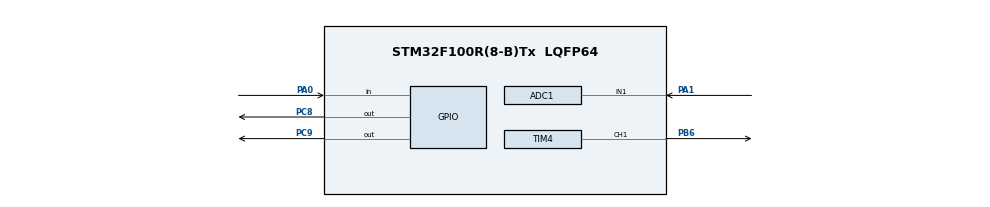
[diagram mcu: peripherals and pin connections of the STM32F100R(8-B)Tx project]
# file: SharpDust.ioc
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ADC1.Channel-4\#ChannelRegularConversion=ADC_CHANNEL_1
ADC1.ContinuousConvMode=DISABLE
ADC1.DataAlign=ADC_DATAALIGN_RIGHT
ADC1.DiscontinuousConvMode=DISABLE
ADC1.EnableAnalogWatchDog=false
ADC1.EnableRegularConversion=ENABLE
ADC1.ExternalTrigConv=ADC_EXTERNALTRIGCONV_T3_TRGO
ADC1.InjNumberOfConversion=0
ADC1.NbrOfConversion=1
ADC1.NbrOfConversionFlag=1
ADC1.Rank-4\#ChannelRegularConversion=1
ADC1.SamplingTime-4\#ChannelRegularConversion=ADC_SAMPLETIME_239CYCLES_5
ADC1.ScanConvMode=ADC_SCAN_DISABLE
ADC1.master=1
Mcu.Family=STM32F1
Mcu.Name=STM32F100R(8-B)Tx
Mcu.Package=LQFP64
NVIC.ADC1_IRQn=true\:0\:0\:false\:false\:true
NVIC.PriorityGroup=NVIC_PRIORITYGROUP_4
NVIC.TIM3_IRQn=true\:0\:0\:false\:false\:true
NVIC.TIM4_IRQn=true\:0\:0\:false\:false\:true
PA0-WKUP.Signal=GPIO_Input
PA1.Signal=ADCx_IN1
PA13.Mode=JTAG_5_pins
PA13.Signal=SYS_JTMS-SWDIO
PA14.Mode=JTAG_5_pins
PA14.Signal=SYS_JTCK-SWCLK
PA15.Mode=JTAG_5_pins
PA15.Signal=SYS_JTDI
PB3.Mode=JTAG_5_pins
PB3.Signal=SYS_JTDO-TRACESWO
PB4.Mode=JTAG_5_pins
PB4.Signal=SYS_NJTRST
PB6.Signal=S_TIM4_CH1
PC8.Signal=GPIO_Output
PC9.Signal=GPIO_Output
PD0-OSC_IN.Mode=HSE-External-Oscillator
PD0-OSC_IN.Signal=RCC_OSC_IN
PD1-OSC_OUT.Mode=HSE-External-Oscillator
PD1-OSC_OUT.Signal=RCC_OSC_OUT
ProjectManager.HeapSize=0x200
ProjectManager.StackSize=0x400
ProjectManager.TargetToolchain=TrueSTUDIO
RCC.APB1Freq_Value=8000000
RCC.APB2Freq_Value=8000000
SH.ADCx_IN1.0=ADC1_IN1,IN1
SH.S_TIM4_CH1.0=TIM4_CH1,PWM Generation1 CH1
TIM3.OCMode_1=TIM_OCMODE_TOGGLE
TIM3.OCPolarity_1=TIM_OCPOLARITY_HIGH
TIM3.Period=1000
TIM3.Prescaler=80
TIM3.Pulse-Output\ Compare1\ No\ Output=22
TIM3.TIM_MasterOutputTrigger=TIM_TRGO_OC1REF
TIM3.TIM_MasterSlaveMode=TIM_MASTERSLAVEMODE_DISABLE
TIM4.OCPolarity_1=TIM_OCPOLARITY_HIGH
TIM4.Period=1000
TIM4.Prescaler=80
TIM4.Pulse-PWM\ Generation1\ CH1=32
TIM4.TIM_MasterOutputTrigger=TIM_TRGO_RESET
VP_TIM3_VS_ClockSourceINT.Mode=Internal
VP_TIM3_VS_no_output1.Mode=Output Compare1 No Output
VP_TIM4_VS_ClockSourceINT.Mode=Internal
board=SharpDust

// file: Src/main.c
/**
  ******************************************************************************
  * File Name          : main.c
  * Description        : Main program body
  ******************************************************************************
  *
  * COPYRIGHT(c) 2017 STMicroelectronics
  *
  * Redistribution and use in source and binary forms, with or without modification,
  * are permitted provided that the following conditions are met:
  *   1. Redistributions of source code must retain the above copyright notice,
  *      this list of conditions and the following disclaimer.
  *   2. Redistributions in binary form must reproduce the above copyright notice,
  *      this list of conditions and the following disclaimer in the documentation
  *      and/or other materials provided with the distribution.
  *   3. Neither the name of STMicroelectronics nor the names of its contributors
  *      may be used to endorse or promote products derived from this software
  *      without specific prior written permission.
  *
  * THIS SOFTWARE IS PROVIDED BY THE COPYRIGHT HOLDERS AND CONTRIBUTORS "AS IS"
  * AND ANY EXPRESS OR IMPLIED WARRANTIES, INCLUDING, BUT NOT LIMITED TO, THE
  * IMPLIED WARRANTIES OF MERCHANTABILITY AND FITNESS FOR A PARTICULAR PURPOSE ARE
  * DISCLAIMED. IN NO EVENT SHALL THE COPYRIGHT HOLDER OR CONTRIBUTORS BE LIABLE
  * FOR ANY DIRECT, INDIRECT, INCIDENTAL, SPECIAL, EXEMPLARY, OR CONSEQUENTIAL
  * DAMAGES (INCLUDING, BUT NOT LIMITED TO, PROCUREMENT OF SUBSTITUTE GOODS OR
  * SERVICES; LOSS OF USE, DATA, OR PROFITS; OR BUSINESS INTERRUPTION) HOWEVER
  * CAUSED AND ON ANY THEORY OF LIABILITY, WHETHER IN CONTRACT, STRICT LIABILITY,
  * OR TORT (INCLUDING NEGLIGENCE OR OTHERWISE) ARISING IN ANY WAY OUT OF THE USE
  * OF THIS SOFTWARE, EVEN IF ADVISED OF THE POSSIBILITY OF SUCH DAMAGE.
  *
  ******************************************************************************
  */
#include "main.h"
#include "stm32f1xx_hal.h"
#include "adc.h"
#include "tim.h"
#include "gpio.h"

/* USER CODE BEGIN Includes */

#include  "stm32_tm1637.h"

/* USER CODE END Includes */

/* USER CODE BEGIN PV */
/* Private variables ---------------------------------------------------------*/

uint32_t g_ADCValue;
uint32_t pa1mV;
int g_MeasurementNumber;
int timerValue;

/* USER CODE END PV */

void SystemClock_Config(void);
void Error_Handler(void);

/* USER CODE BEGIN PFP */
/* Private function prototypes -----------------------------------------------*/

/* USER CODE END PFP */

int main(void)
{

  /* MCU Configuration----------------------------------------------------------*/

  /* Reset of all peripherals, Initializes the Flash interface and the Systick. */
  HAL_Init();

  /* Configure the system clock */
  SystemClock_Config();

  /* Initialize all configured peripherals */
  MX_GPIO_Init();
  MX_ADC1_Init();
  MX_TIM3_Init();
  MX_TIM4_Init();

  /* USER CODE BEGIN 2 */

	// Timing for ADC (0.28ms after start of LED emission)
	HAL_TIM_OC_Start_IT(&htim3, TIM_CHANNEL_1);

	// Sensor LED (period: 10ms; duty cycle: 3.2%)
	HAL_TIM_PWM_Start(&htim4, TIM_CHANNEL_1);

	tm1637Init();
	HAL_ADC_Start_IT(&hadc1);

  /* USER CODE END 2 */

  /* Infinite loop */
  while (1)
  {

  /* USER CODE BEGIN 3 */
	  //tm1637DisplayDecimal(pa1mV, 0);
	  //tm1637DisplayDecimal(1234, 0);
	  tm1637DisplayRaw(0x38, 0x06, 0x71, 0x79);
	  HAL_Delay(1500);
	  tm1637DisplayRaw(0x00, 0x06, 0x6d, 0x00);
	  HAL_Delay(1500);
	  tm1637DisplayRaw(0x39, 0x3f, 0x3f, 0x38);

	  HAL_Delay(1500);
	  tm1637DisplayRaw(0x00, 0x00, 0x00, 0x00);

	  HAL_Delay(1500);
	  tm1637DisplayRaw(0x73, 0x38, 0x77, 0x6e);
	  HAL_Delay(1500);
	  tm1637DisplayRaw(0x6d, 0x77, 0x71, 0x79);

	  HAL_Delay(1500);
	  tm1637DisplayRaw(0x00, 0x00, 0x00, 0x00);

	  /*timerValue = __HAL_TIM_GET_COUNTER(&htim3);

	  HAL_GPIO_WritePin(GPIOC, GPIO_PIN_9, GPIO_PIN_RESET);
	  HAL_Delay(50);
	  HAL_GPIO_WritePin(GPIOC, GPIO_PIN_9, GPIO_PIN_SET); */
	  HAL_Delay(1500);
  }
  /* USER CODE END 3 */

}

/** System Clock Configuration
*/
void SystemClock_Config(void)
{

  RCC_OscInitTypeDef RCC_OscInitStruct;
  RCC_ClkInitTypeDef RCC_ClkInitStruct;
  RCC_PeriphCLKInitTypeDef PeriphClkInit;

    /**Initializes the CPU, AHB and APB busses clocks
    */
  RCC_OscInitStruct.OscillatorType = RCC_OSCILLATORTYPE_HSI;
  RCC_OscInitStruct.HSIState = RCC_HSI_ON;
  RCC_OscInitStruct.HSICalibrationValue = 16;
  RCC_OscInitStruct.PLL.PLLState = RCC_PLL_NONE;
  if (HAL_RCC_OscConfig(&RCC_OscInitStruct) != HAL_OK)
  {
    Error_Handler();
  }

    /**Initializes the CPU, AHB and APB busses clocks
    */
  RCC_ClkInitStruct.ClockType = RCC_CLOCKTYPE_HCLK|RCC_CLOCKTYPE_SYSCLK
                              |RCC_CLOCKTYPE_PCLK1|RCC_CLOCKTYPE_PCLK2;
  RCC_ClkInitStruct.SYSCLKSource = RCC_SYSCLKSOURCE_HSI;
  RCC_ClkInitStruct.AHBCLKDivider = RCC_SYSCLK_DIV1;
  RCC_ClkInitStruct.APB1CLKDivider = RCC_HCLK_DIV1;
  RCC_ClkInitStruct.APB2CLKDivider = RCC_HCLK_DIV1;

  if (HAL_RCC_ClockConfig(&RCC_ClkInitStruct, FLASH_LATENCY_0) != HAL_OK)
  {
    Error_Handler();
  }

  PeriphClkInit.PeriphClockSelection = RCC_PERIPHCLK_ADC;
  PeriphClkInit.AdcClockSelection = RCC_ADCPCLK2_DIV2;
  if (HAL_RCCEx_PeriphCLKConfig(&PeriphClkInit) != HAL_OK)
  {
    Error_Handler();
  }

    /**Configure the Systick interrupt time
    */
  HAL_SYSTICK_Config(HAL_RCC_GetHCLKFreq()/1000);

    /**Configure the Systick
    */
  HAL_SYSTICK_CLKSourceConfig(SYSTICK_CLKSOURCE_HCLK);

  /* SysTick_IRQn interrupt configuration */
  HAL_NVIC_SetPriority(SysTick_IRQn, 0, 0);
}

/* USER CODE BEGIN 4 */

void HAL_ADC_ConvCpltCallback(ADC_HandleTypeDef* AdcHandle)
{
	HAL_GPIO_WritePin(GPIOC, GPIO_PIN_8, GPIO_PIN_SET);
	HAL_GPIO_WritePin(GPIOC, GPIO_PIN_8, GPIO_PIN_RESET);
	if (__HAL_ADC_GET_FLAG(AdcHandle, ADC_FLAG_EOC))
	{

		g_ADCValue = HAL_ADC_GetValue(AdcHandle);
		pa1mV = g_ADCValue / 29; //3300 * (4096 / g_ADCValue);
		//ADC_raw = HAL_ADC_GetValue(hadc);
		//Vdd = 3300 * (*VREFINT_CAL_ADDR) / ADC_raw;
	}

}

/* USER CODE END 4 */

void Error_Handler(void)
{
  while(1)
  {
  }
}

/************************ (C) COPYRIGHT STMicroelectronics *****END OF FILE****/
